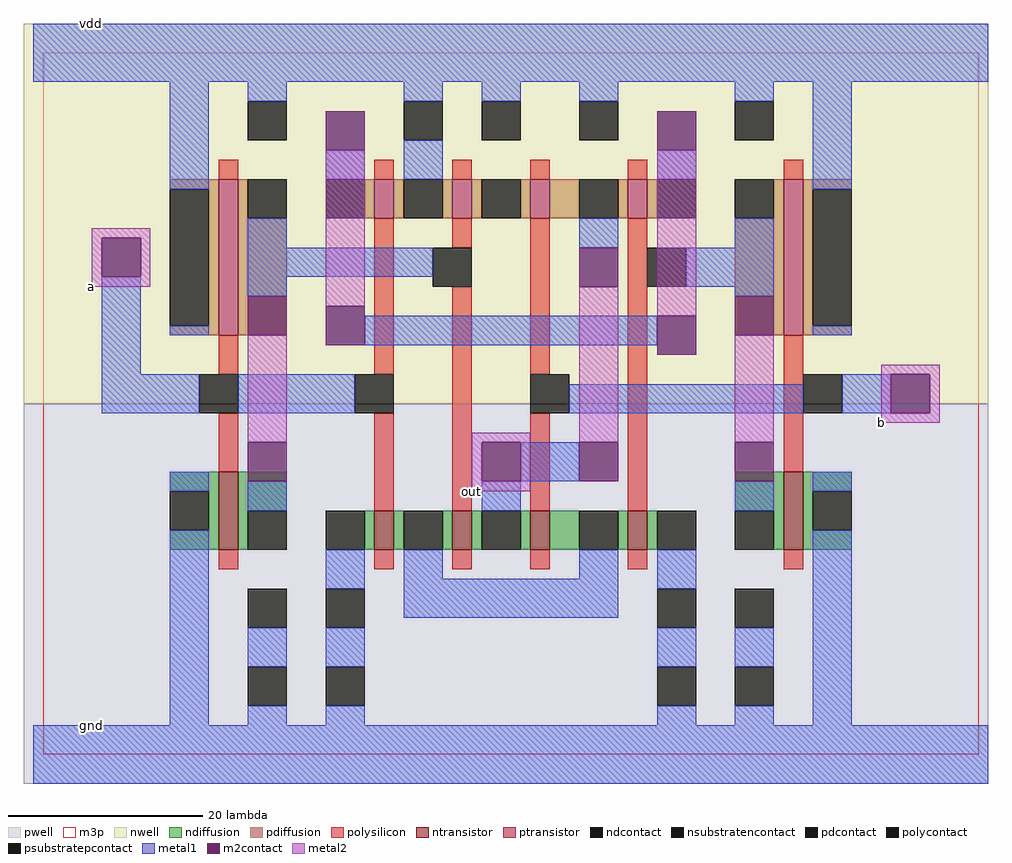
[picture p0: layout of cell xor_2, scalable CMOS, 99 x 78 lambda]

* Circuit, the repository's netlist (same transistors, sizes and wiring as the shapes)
*********************** "xor_2" ******************************
.subckt xor_2 a b out vdd gnd
M1000 a_n11_24# a vdd Vdd pfet w=16 l=2
M1001 vdd a a_n2_58# Vdd pfet w=4 l=2
M1002 a_13_58# a_n11_24# vdd Vdd pfet w=4 l=2
M1003 out b a_13_58# Vdd pfet w=4 l=2
M1004 a_n2_58# a_29_22# out Vdd pfet w=4 l=2
M1005 a_n11_24# a gnd Gnd nfet w=8 l=2
M1006 vdd b a_29_22# Vdd pfet w=16 l=2
M1007 a_5_24# a gnd Gnd nfet w=4 l=2
M1008 out a_n11_24# a_5_24# Gnd nfet w=4 l=2
M1009 a_5_24# b out Gnd nfet w=4 l=2
M1010 gnd a_29_22# a_5_24# Gnd nfet w=4 l=2
M1011 gnd b a_29_22# Gnd nfet w=8 l=2
.ENDS xor_2

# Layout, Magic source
magic
tech scmos
<< nwell >>
rect 0 36 99 75
<< pwell >>
rect 0 -3 99 36
<< ntransistor >>
rect 20 21 22 29
rect 36 21 38 25
rect 44 21 46 25
rect 52 21 54 25
rect 62 21 64 25
rect 78 21 80 29
<< ptransistor >>
rect 20 43 22 59
rect 36 55 38 59
rect 44 55 46 59
rect 52 55 54 59
rect 62 55 64 59
rect 78 43 80 59
<< ndiffusion >>
rect 15 27 20 29
rect 19 23 20 27
rect 15 21 20 23
rect 22 25 27 29
rect 73 25 78 29
rect 22 21 23 25
rect 35 21 36 25
rect 38 21 39 25
rect 43 21 44 25
rect 46 21 47 25
rect 51 21 52 25
rect 54 21 57 25
rect 61 21 62 25
rect 64 21 65 25
rect 77 21 78 25
rect 80 27 85 29
rect 80 23 81 27
rect 80 21 85 23
<< pdiffusion >>
rect 15 58 20 59
rect 19 44 20 58
rect 15 43 20 44
rect 22 55 23 59
rect 35 55 36 59
rect 38 55 39 59
rect 43 55 44 59
rect 46 55 47 59
rect 51 55 52 59
rect 54 55 57 59
rect 61 55 62 59
rect 64 55 65 59
rect 77 55 78 59
rect 22 43 27 55
rect 73 43 78 55
rect 80 58 85 59
rect 80 44 81 58
rect 80 43 85 44
<< ndcontact >>
rect 15 23 19 27
rect 23 21 27 25
rect 31 21 35 25
rect 39 21 43 25
rect 47 21 51 25
rect 57 21 61 25
rect 65 21 69 25
rect 73 21 77 25
rect 81 23 85 27
<< pdcontact >>
rect 15 44 19 58
rect 23 55 27 59
rect 31 55 35 59
rect 39 55 43 59
rect 47 55 51 59
rect 57 55 61 59
rect 65 55 69 59
rect 73 55 77 59
rect 81 44 85 58
<< psubstratepcontact >>
rect 23 13 27 17
rect 31 13 35 17
rect 65 13 69 17
rect 73 13 77 17
rect 23 5 27 9
rect 31 5 35 9
rect 65 5 69 9
rect 73 5 77 9
<< nsubstratencontact >>
rect 23 63 27 67
rect 39 63 43 67
rect 47 63 51 67
rect 57 63 61 67
rect 73 63 77 67
<< polysilicon >>
rect 20 59 22 61
rect 36 59 38 61
rect 44 59 46 61
rect 52 59 54 61
rect 62 59 64 61
rect 78 59 80 61
rect 20 39 22 43
rect 36 39 38 55
rect 44 52 46 55
rect 20 29 22 35
rect 36 25 38 35
rect 44 25 46 48
rect 52 39 54 55
rect 52 25 54 35
rect 62 25 64 55
rect 78 29 80 43
rect 20 19 22 21
rect 36 19 38 21
rect 44 19 46 21
rect 52 19 54 21
rect 62 19 64 21
rect 78 19 80 21
<< polycontact >>
rect 42 48 46 52
rect 18 35 22 39
rect 34 35 38 39
rect 52 35 56 39
rect 64 48 68 52
rect 80 35 84 39
<< metal1 >>
rect 1 69 99 75
rect 15 58 19 69
rect 23 67 27 69
rect 39 67 43 69
rect 31 59 35 62
rect 8 39 12 49
rect 15 43 19 44
rect 47 67 51 69
rect 57 67 61 69
rect 73 67 77 69
rect 39 59 43 63
rect 65 59 69 62
rect 23 52 27 55
rect 57 52 61 55
rect 73 52 77 55
rect 23 49 42 52
rect 23 47 27 49
rect 68 48 77 52
rect 73 47 77 48
rect 35 42 65 45
rect 81 58 85 69
rect 81 43 85 44
rect 8 35 18 39
rect 22 35 34 39
rect 56 35 80 38
rect 84 35 89 39
rect 15 27 19 29
rect 15 3 19 23
rect 23 25 27 28
rect 51 28 57 32
rect 47 25 51 28
rect 73 25 77 28
rect 31 17 35 21
rect 23 9 27 13
rect 23 3 27 5
rect 39 18 43 21
rect 57 18 61 21
rect 39 14 61 18
rect 81 27 85 29
rect 65 17 69 21
rect 31 9 35 13
rect 31 3 35 5
rect 65 9 69 13
rect 65 3 69 5
rect 73 9 77 13
rect 73 3 77 5
rect 81 3 85 23
rect 1 -3 99 3
<< m2contact >>
rect 31 62 35 66
rect 8 49 12 53
rect 65 62 69 66
rect 57 48 61 52
rect 23 43 27 47
rect 31 42 35 46
rect 65 41 69 45
rect 73 43 77 47
rect 89 35 93 39
rect 23 28 27 32
rect 47 28 51 32
rect 57 28 61 32
rect 73 28 77 32
<< metal2 >>
rect 7 53 13 54
rect 7 49 8 53
rect 12 49 13 53
rect 7 48 13 49
rect 23 32 27 43
rect 31 46 35 62
rect 46 32 52 33
rect 46 28 47 32
rect 51 28 52 32
rect 57 32 61 48
rect 65 45 69 62
rect 73 32 77 43
rect 88 39 94 40
rect 88 35 89 39
rect 93 35 94 39
rect 88 34 94 35
rect 46 27 52 28
<< m3p >>
rect 2 0 98 72
<< labels >>
rlabel metal1 7 3 7 3 4 gnd
rlabel metal1 7 75 7 75 4 vdd
rlabel metal2 7 48 7 48 1 a
rlabel metal2 88 34 88 34 1 b
rlabel metal2 46 27 46 27 1 out
<< end >>
